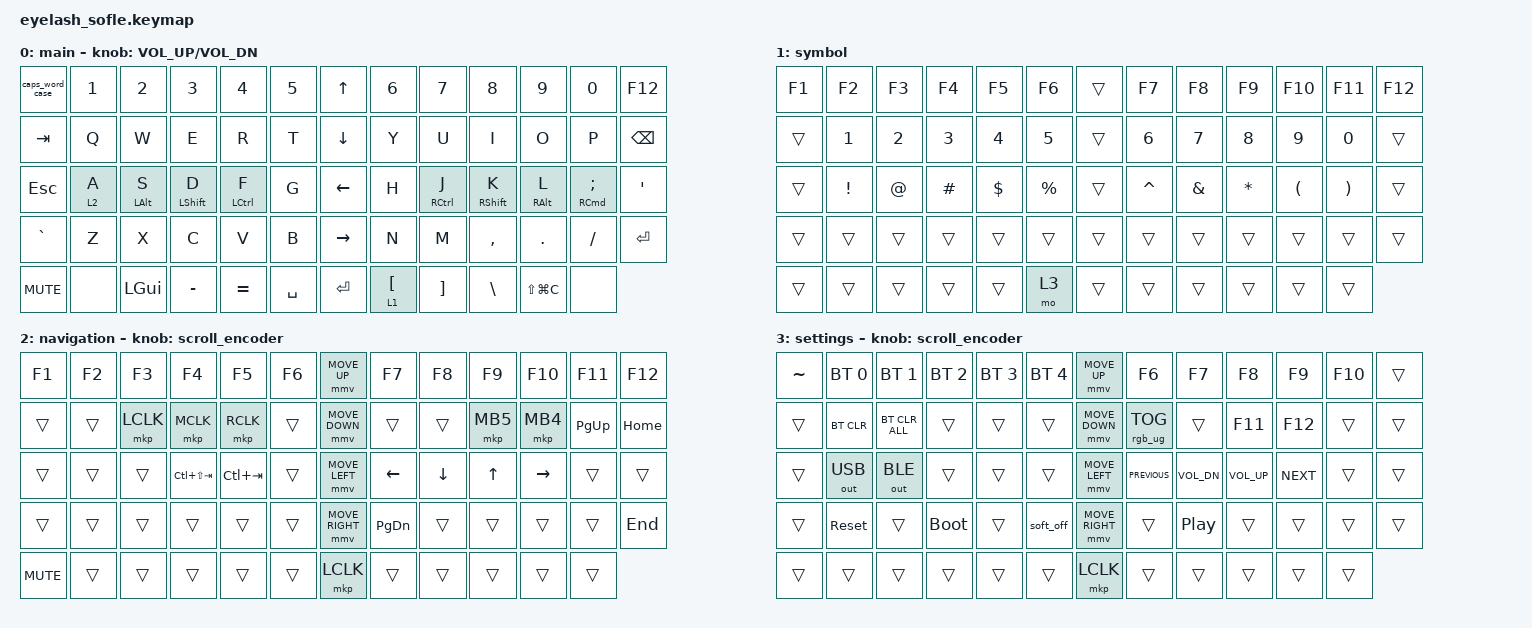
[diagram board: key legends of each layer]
#define ZMK_POINTING_DEFAULT_MOVE_VAL 1200  // 600
#define ZMK_POINTING_DEFAULT_SCRL_VAL 25   // 10

#include <input/processors.dtsi>
#include <zephyr/dt-bindings/input/input-event-codes.h>
#include <behaviors.dtsi>
#include <dt-bindings/zmk/bt.h>
#include <dt-bindings/zmk/keys.h>
#include <dt-bindings/zmk/outputs.h>
#include <dt-bindings/zmk/pointing.h>
#include <dt-bindings/zmk/rgb.h>

&mmv_input_listener { input-processors = <&zip_xy_scaler 2 1>; };

&msc_input_listener { input-processors = <&zip_scroll_scaler 2 1>; };

&msc {
    acceleration-exponent = <1>;      // 0
    time-to-max-speed-ms = <100>;       // 300
    delay-ms = <0>;                   // 0
};

&mmv {
    time-to-max-speed-ms = <500>;
    acceleration-exponent = <1>;
    trigger-period-ms = <16>;
};

/ {
    scroll_encoder: scroll_encoder {
        compatible = "zmk,behavior-sensor-rotate";
        #sensor-binding-cells = <0>;
        bindings = <&msc SCRL_DOWN>, <&msc SCRL_UP>;

        tap-ms = <100>;
    };

    caps_word_case: caps_word_case {
        compatible = "zmk,behavior-caps-word";
        label = "CAPS_WORD_CASE";
        #binding-cells = <0>;
        continue-list = <UNDERSCORE MINUS A C B D E F G H I J L K M N O Q P R S T U V W X Y Z NUMBER_1 NUMBER_2 NUMBER_3 NUMBER_4 NUMBER_5 NUMBER_7 NUMBER_6 NUMBER_8 NUMBER_9 NUMBER_0>;
    };

    l_shift_caps_word: l_shift_caps_word {
        compatible = "zmk,behavior-tap-dance";
        label = "L_SHIFT_CAPS_WORD";
        #binding-cells = <0>;
        bindings = <&kp LEFT_SHIFT>, <&caps_word_case>;

        tapping-term-ms = <100>;
    };

    r_shift_caps_word: r_shift_caps_word {
        compatible = "zmk,behavior-tap-dance";
        label = "R_SHIFT_CAPS_WORD";
        #binding-cells = <0>;
        bindings = <&kp RIGHT_SHIFT>, <&caps_word_case>;

        tapping-term-ms = <100>;
    };

    tap_hold: tap_hold {
        compatible = "zmk,behavior-hold-tap";
        label = "TAP_HOLD";
        bindings = <&kp>, <&kp>;

        #binding-cells = <2>;
        flavor = "tap-preferred";
        quick-tap-ms = <150>;
        tapping-term-ms = <250>;
    };

    tap_layer: tap_layer {
        compatible = "zmk,behavior-hold-tap";
        label = "TAP_LAYER";
        bindings = <&mo>, <&kp>;

        #binding-cells = <2>;
        tapping-term-ms = <250>;
        quick-tap-ms = <150>;
        flavor = "tap-preferred";
    };

    combos { compatible = "zmk,combos"; };

    behaviors {
    };

    keymap {
        compatible = "zmk,keymap";

        main {
            bindings = <
&caps_word_case  &kp N1          &kp N2                &kp N3                  &kp N4                    &kp N5       &kp UP_ARROW     &kp N6                     &kp N7                     &kp N8                   &kp N9                 &kp N0                             &kp F12
&kp TAB          &kp Q           &kp W                 &kp E                   &kp R                     &kp T        &kp DOWN_ARROW   &kp Y                      &kp U                      &kp I                    &kp O                  &kp P                              &kp BACKSPACE
&kp ESCAPE       &tap_layer 2 A  &tap_hold LEFT_ALT S  &tap_hold LEFT_SHIFT D  &tap_hold LEFT_CONTROL F  &kp G        &kp LEFT_ARROW   &kp H                      &tap_hold RIGHT_CONTROL J  &tap_hold RIGHT_SHIFT K  &tap_hold RIGHT_ALT L  &tap_hold RIGHT_COMMAND SEMICOLON  &kp SQT
&kp GRAVE        &kp Z           &kp X                 &kp C                   &kp V                     &kp B        &kp RIGHT_ARROW  &kp N                      &kp M                      &kp COMMA                &kp DOT                &kp FSLH                           &kp ENTER
&kp C_MUTE       &none           &kp LEFT_GUI          &kp MINUS               &kp EQUAL                 &kp SPACE    &kp ENTER        &tap_layer 1 LEFT_BRACKET  &kp RIGHT_BRACKET          &kp BSLH                 &kp LS(LG(C))          &none
            >;

            sensor-bindings = <&inc_dec_kp C_VOLUME_UP C_VOL_DN>;
            display-name = "main";
        };

        symbol {
            bindings = <
&kp F1  &kp F2           &kp F3       &kp F4    &kp F5      &kp F6         &trans  &kp F7     &kp F8         &kp F9        &kp F10               &kp F11                &kp F12
&trans  &kp N1           &kp N2       &kp N3    &kp N4      &kp N5         &trans  &kp N6     &kp N7         &kp N8        &kp N9                &kp N0                 &trans
&trans  &kp EXCLAMATION  &kp AT_SIGN  &kp HASH  &kp DOLLAR  &kp PERCENT    &trans  &kp CARET  &kp AMPERSAND  &kp ASTERISK  &kp LEFT_PARENTHESIS  &kp RIGHT_PARENTHESIS  &trans
&trans  &trans           &trans       &trans    &trans      &trans         &trans  &trans     &trans         &trans        &trans                &trans                 &trans
&trans  &trans           &trans       &trans    &trans      &mo 3          &trans  &trans     &trans         &trans        &trans                &trans
            >;
        };

        navigation {
            bindings = <
&kp F1      &kp F2  &kp F3     &kp F4           &kp F5       &kp F6    &mmv MOVE_UP     &kp F7         &kp F8    &kp F9        &kp F10    &kp F11      &kp F12
&trans      &trans  &mkp LCLK  &mkp MCLK        &mkp RCLK    &trans    &mmv MOVE_DOWN   &trans         &trans    &mkp MB5      &mkp MB4   &kp PAGE_UP  &kp HOME
&trans      &trans  &trans     &kp LC(LS(TAB))  &kp LC(TAB)  &trans    &mmv MOVE_LEFT   &kp LEFT       &kp DOWN  &kp UP_ARROW  &kp RIGHT  &trans       &trans
&trans      &trans  &trans     &trans           &trans       &trans    &mmv MOVE_RIGHT  &kp PAGE_DOWN  &trans    &trans        &trans     &trans       &kp END
&kp C_MUTE  &trans  &trans     &trans           &trans       &trans    &mkp LCLK        &trans         &trans    &trans        &trans     &trans
            >;

            display-name = "navigation";
            sensor-bindings = <&scroll_encoder>;
        };

        settings {
            bindings = <
&kp TILDE  &bt BT_SEL 0  &bt BT_SEL 1    &bt BT_SEL 2  &bt BT_SEL 3  &bt BT_SEL 4    &mmv MOVE_UP     &kp F6           &kp F7            &kp F8        &kp F9      &kp F10  &trans
&trans     &bt BT_CLR    &bt BT_CLR_ALL  &trans        &trans        &trans          &mmv MOVE_DOWN   &rgb_ug RGB_TOG  &trans            &kp F11       &kp F12     &trans   &trans
&trans     &out OUT_USB  &out OUT_BLE    &trans        &trans        &trans          &mmv MOVE_LEFT   &kp C_PREVIOUS   &kp C_VOL_DN      &kp C_VOL_UP  &kp C_NEXT  &trans   &trans
&trans     &sys_reset    &trans          &bootloader   &trans        &soft_off       &mmv MOVE_RIGHT  &trans           &kp C_PLAY_PAUSE  &trans        &trans      &trans   &trans
&trans     &trans        &trans          &trans        &trans        &trans          &mkp LCLK        &trans           &trans            &trans        &trans      &trans
            >;

            sensor-bindings = <&scroll_encoder>;
        };
    };
};
